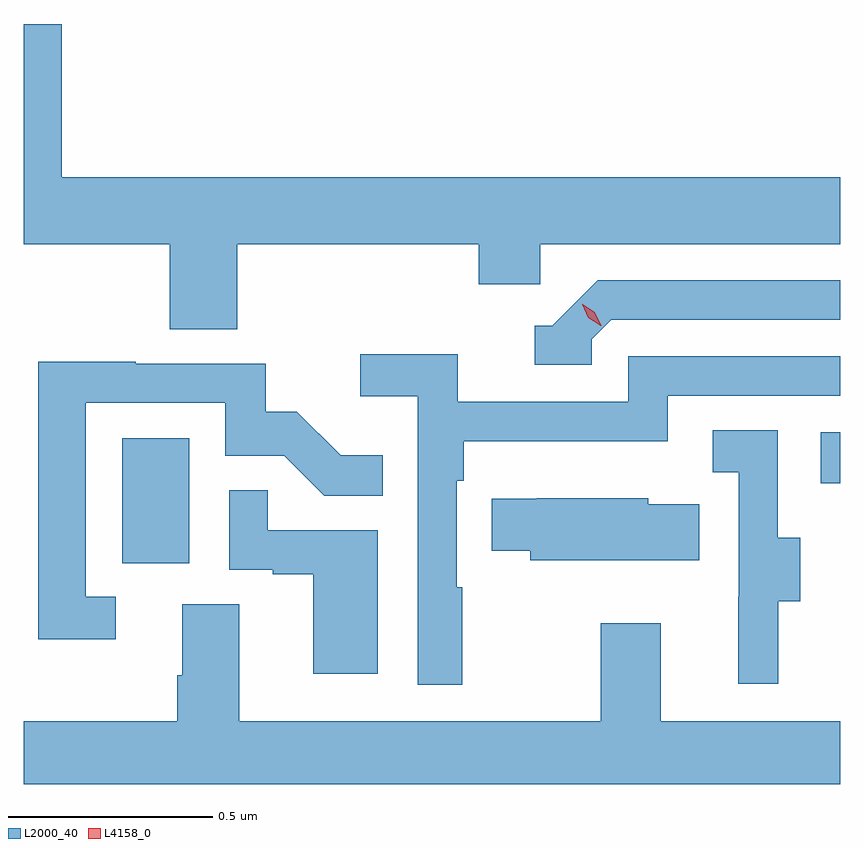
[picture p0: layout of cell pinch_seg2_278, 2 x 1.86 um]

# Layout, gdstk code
import gdstk
lib = gdstk.Library(unit=1e-6, precision=1e-09)
def R(c, l, rs):  # rectangles x0, y0, x1, y1
    for r in rs: c.add(gdstk.rectangle(r[:2], r[2:], *l))
def P(c, l, *ps):  # polygons
    for p in ps: c.add(gdstk.Polygon(p, *l))
L2000_40 = (2000, 40)
L4158_0 = (4158, 0)

pinch_seg2_278 = lib.new_cell('pinch_seg2_278')
R(pinch_seg2_278, L2000_40, [(908.576,652.182,908.74,652.489), (910.287,652.379,910.335,652.503)])
P(pinch_seg2_278, L2000_40, [(908.858,652.964),(909.449,652.964),(909.449,652.866),(909.6,652.866),(909.6,652.964),(910.335,652.964),(910.335,653.128),(908.428,653.128),(908.428,653.503),(908.335,653.503),(908.335,652.964),(908.693,652.964),(908.693,652.756),(908.858,652.756)],
  [(909.726,652.731),(909.774,652.779),(910.335,652.779),(910.335,652.875),(909.741,652.875),(909.63,652.764),(909.587,652.764),(909.587,652.668),(909.726,652.668)],
  [(909.409,652.124),(909.396,652.124),(909.396,652.385),(909.413,652.385),(909.413,652.481),(909.912,652.481),(909.912,652.593),(910.335,652.593),(910.335,652.689),(909.816,652.689),(909.816,652.578),(909.398,652.578),(909.398,652.694),(909.159,652.694),(909.159,652.592),(909.3,652.592),(909.3,651.885),(909.409,651.885)],
  [(908.56,652.101),(908.487,652.101),(908.487,652.575),(908.829,652.575),(908.829,652.446),(908.973,652.446),(909.071,652.348),(909.215,652.348),(909.215,652.447),(909.111,652.447),(909.004,652.554),(908.928,652.554),(908.928,652.671),(908.609,652.671),(908.609,652.676),(908.371,652.676),(908.371,651.996),(908.56,651.996)],
  [(910.183,652.09),(910.237,652.09),(910.237,652.245),(910.182,652.245),(910.182,652.508),(910.023,652.508),(910.023,652.405),(910.086,652.405),(910.086,652.101),(910.085,652.101),(910.085,651.888),(910.183,651.888)],
  [(909.202,652.263),(908.933,652.263),(908.933,652.361),(908.838,652.361),(908.838,652.167),(908.945,652.167),(908.945,652.155),(909.044,652.155),(909.044,651.912),(909.202,651.912)],
  [(909.989,652.327),(909.864,652.327),(909.864,652.342),(909.592,652.342),(909.592,652.341),(909.481,652.341),(909.481,652.213),(909.575,652.213),(909.575,652.19),(909.989,652.19)],
  [(910.335,651.796),(909.895,651.796),(909.895,652.036),(909.748,652.036),(909.748,651.796),(908.863,651.796),(908.863,652.082),(908.723,652.082),(908.723,651.908),(908.711,651.908),(908.711,651.796),(908.335,651.796),(908.335,651.642),(910.335,651.642)])
P(pinch_seg2_278, L4158_0, [(909.748,652.764),(909.718,652.784),(909.703,652.817),(909.703,652.817),(909.704,652.817),(909.734,652.797),(909.749,652.764),(909.749,652.764)])

lib.write_gds('pinch_seg2_278.gds')
